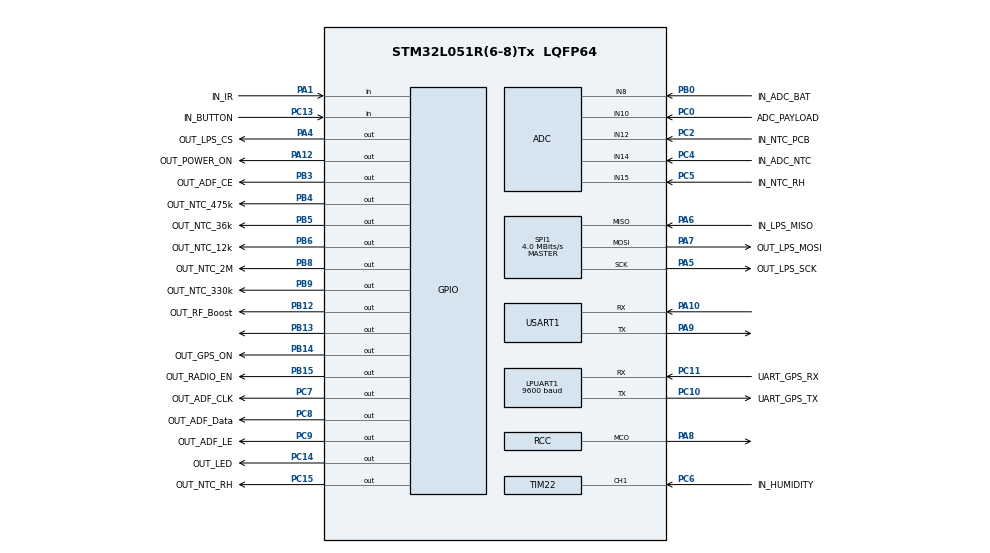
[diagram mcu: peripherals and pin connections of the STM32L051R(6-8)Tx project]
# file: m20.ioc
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ADC.SamplingTime=ADC_SAMPLETIME_160CYCLES_5
LPUART1.BaudRate=9600
LPUART1.WordLength=UART_WORDLENGTH_8B
Mcu.Family=STM32L0
Mcu.Name=STM32L051R(6-8)Tx
Mcu.Package=LQFP64
NVIC.LPUART1_IRQn=true\:1\:0\:true\:false\:true\:true\:true\:true
NVIC.TIM21_IRQn=true\:0\:0\:true\:false\:true\:true\:true\:true
NVIC.TIM22_IRQn=true\:1\:0\:true\:false\:true\:true\:true\:true
PA1.GPIO_Label=IN_IR
PA1.Signal=GPIO_Input
PA10.Mode=Asynchronous
PA10.Signal=USART1_RX
PA12.GPIO_Label=OUT_POWER_ON
PA12.PinState=GPIO_PIN_SET
PA12.Signal=GPIO_Output
PA4.GPIO_Label=OUT_LPS_CS
PA4.Signal=GPIO_Output
PA5.GPIO_Label=OUT_LPS_SCK
PA5.Mode=Full_Duplex_Master
PA5.Signal=SPI1_SCK
PA6.GPIO_Label=IN_LPS_MISO
PA6.Mode=Full_Duplex_Master
PA6.Signal=SPI1_MISO
PA7.GPIO_Label=OUT_LPS_MOSI
PA7.Mode=Full_Duplex_Master
PA7.Signal=SPI1_MOSI
PA8.GPIO_Speed=GPIO_SPEED_FREQ_VERY_HIGH
PA8.Mode=Clock-out
PA8.Signal=RCC_MCO
PA9.Mode=Asynchronous
PA9.Signal=USART1_TX
PB0.GPIO_Label=IN_ADC_BAT
PB0.Mode=IN8
PB0.Signal=ADC_IN8
PB12.GPIO_Label=OUT_RF_Boost
PB12.PinState=GPIO_PIN_SET
PB12.Signal=GPIO_Output
PB13.GPIO_Label=OUT_ADF_TX_TIM?
PB13.Signal=GPIO_Output
PB14.GPIO_Label=OUT_GPS_ON
PB14.PinState=GPIO_PIN_SET
PB14.Signal=GPIO_Output
PB15.GPIO_Label=OUT_RADIO_EN
PB15.PinState=GPIO_PIN_SET
PB15.Signal=GPIO_Output
PB3.GPIO_Label=OUT_ADF_CE
PB3.PinState=GPIO_PIN_RESET
PB3.Signal=GPIO_Output
PB4.GPIO_Label=OUT_NTC_475k
PB4.GPIO_ModeDefaultOutputPP=GPIO_MODE_OUTPUT_PP
PB4.GPIO_PuPd=GPIO_NOPULL
PB4.PinState=GPIO_PIN_SET
PB4.Signal=GPIO_Output
PB5.GPIO_Label=OUT_NTC_36k
PB5.GPIO_ModeDefaultOutputPP=GPIO_MODE_OUTPUT_PP
PB5.GPIO_PuPd=GPIO_NOPULL
PB5.PinState=GPIO_PIN_SET
PB5.Signal=GPIO_Output
PB6.GPIO_FM6=__NULL
PB6.GPIO_Label=OUT_NTC_12k
PB6.GPIO_ModeDefaultOutputPP=GPIO_MODE_OUTPUT_PP
PB6.GPIO_PuPd=GPIO_NOPULL
PB6.PinState=GPIO_PIN_SET
PB6.Signal=GPIO_Output
PB8.GPIO_Label=OUT_NTC_2M
PB8.GPIO_ModeDefaultOutputPP=GPIO_MODE_OUTPUT_PP
PB8.GPIO_PuPd=GPIO_NOPULL
PB8.PinState=GPIO_PIN_RESET
PB8.Signal=GPIO_Output
PB9.GPIO_Label=OUT_NTC_330k
PB9.GPIO_ModeDefaultOutputPP=GPIO_MODE_OUTPUT_PP
PB9.GPIO_PuPd=GPIO_NOPULL
PB9.PinState=GPIO_PIN_RESET
PB9.Signal=GPIO_Output
PC0.GPIO_Label=ADC_PAYLOAD
PC0.Mode=IN10
PC0.Signal=ADC_IN10
PC10.GPIO_Label=UART_GPS_TX
PC10.Mode=Asynchronous
PC10.Signal=LPUART1_TX
PC11.GPIO_Label=UART_GPS_RX
PC11.Mode=Asynchronous
PC11.Signal=LPUART1_RX
PC13.GPIO_Label=IN_BUTTON
PC13.Signal=GPIO_Input
PC14-OSC32_IN.GPIO_Label=OUT_LED
PC14-OSC32_IN.PinState=GPIO_PIN_RESET
PC14-OSC32_IN.Signal=GPIO_Output
PC15-OSC32_OUT.GPIO_Label=OUT_NTC_RH
PC15-OSC32_OUT.PinState=GPIO_PIN_RESET
PC15-OSC32_OUT.Signal=GPIO_Output
PC2.GPIO_Label=IN_NTC_PCB
PC2.Mode=IN12
PC2.Signal=ADC_IN12
PC4.GPIO_Label=IN_ADC_NTC
PC4.Mode=IN14
PC4.Signal=ADC_IN14
PC5.GPIO_Label=IN_NTC_RH
PC5.Mode=IN15
PC5.Signal=ADC_IN15
PC6.GPIO_Label=IN_HUMIDITY
PC6.Signal=S_TIM22_CH1
PC7.GPIO_Label=OUT_ADF_CLK
PC7.Signal=GPIO_Output
PC8.GPIO_Label=OUT_ADF_Data
PC8.Signal=GPIO_Output
PC9.GPIO_Label=OUT_ADF_LE
PC9.Signal=GPIO_Output
PH0-OSC_IN.Mode=HSE-External-Oscillator
PH0-OSC_IN.Signal=RCC_OSC_IN
PH1-OSC_OUT.Mode=HSE-External-Oscillator
PH1-OSC_OUT.Signal=RCC_OSC_OUT
ProjectManager.HeapSize=0x200
ProjectManager.StackSize=0x400
ProjectManager.TargetToolchain=Makefile
RCC.AHBFreq_Value=8000000
RCC.APB1Freq_Value=8000000
RCC.APB1TimFreq_Value=8000000
RCC.APB2Freq_Value=8000000
RCC.APB2TimFreq_Value=8000000
RCC.HCLKFreq_Value=8000000
RCC.HSE_VALUE=8000000
RCC.HSI16_VALUE=16000000
RCC.HSI_VALUE=16000000
RCC.LSE_VALUE=32768
RCC.MSI_VALUE=2097000
RCC.PLLSourceVirtual=RCC_PLLSOURCE_HSE
RCC.RCC_MCOSource=RCC_MCO1SOURCE_HSE
RCC.SYSCLKFreq_VALUE=8000000
RCC.SYSCLKSource=RCC_SYSCLKSOURCE_HSE
RCC.Usart1ClockSelection=RCC_USART1CLKSOURCE_SYSCLK
RCC.VCOOutputFreq_Value=24000000
SH.S_TIM22_CH1.0=TIM22_CH1,Input_Capture1_from_TI1
SPI1.CalculateBaudRate=4.0 MBits/s
SPI1.Direction=SPI_DIRECTION_2LINES
SPI1.Mode=SPI_MODE_MASTER
SPI1.VirtualType=VM_MASTER
TIM21.AutoReloadPreload=TIM_AUTORELOAD_PRELOAD_ENABLE
TIM21.Period=3332
TIM21.Prescaler=0
TIM22.Channel-Input_Capture1_from_TI1=TIM_CHANNEL_1
TIM22.Prescaler=1
USART1.VirtualMode-Asynchronous=VM_ASYNC
VP_TIM21_VS_ClockSourceINT.Mode=Internal
VP_TIM22_VS_ClockSourceINT.Mode=Internal
board=custom

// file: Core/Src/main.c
/* USER CODE BEGIN Header */
/**
  ******************************************************************************
  * @file           : main.c
  * @brief          : Main program body
  ******************************************************************************
  * @attention
  *
  * Copyright (c) 2026 STMicroelectronics.
  * All rights reserved.
  *
  * This software is licensed under terms that can be found in the LICENSE file
  * in the root directory of this software component.
  * If no LICENSE file comes with this software, it is provided AS-IS.
  *
  ******************************************************************************
  */
/* USER CODE END Header */
#include "main.h"

/* USER CODE BEGIN Includes */
#include <sys/types.h>

#include "adf.h"
#include "gps.h"
#include "lps22.h"
#include "ntc.h"
#include "printf.h"
#include "rh.h"
/* USER CODE END Includes */

/* USER CODE BEGIN PV */
typedef struct m20_frame {
  uint32_t sync; // 0xb00b5420
  uint8_t seq;

  uint32_t time; // Unix timestamp

  uint32_t lat;
  uint32_t lon;
  uint16_t alt; // 0.1m

  uint16_t vel_h; // Horizontal velocity
  uint16_t vel_v; // Vertical velocity
  uint8_t heading; // Heading @2deg

  uint16_t temp;     // @0.01
  uint16_t humidity; // @0.01

  uint16_t crc;
} __attribute__((packed)) m20_frame_t;

uint8_t seq = 0;

extern struct {
  uint32_t time; // Unix timestamp

  uint32_t lat;
  uint32_t lon;
  uint16_t alt;

  uint16_t vel_h;
} frame_part;

#if ENABLE_RF
extern int need_to_send;
extern uint8_t *send_buffer;
extern size_t send_buffer_size;
#endif
/* USER CODE END PV */

void SystemClock_Config(void);
static void MX_GPIO_Init(void);
static void MX_ADC_Init(void);
static void MX_SPI1_Init(void);
static void MX_USART1_UART_Init(void);
static void MX_LPUART1_UART_Init(void);
static void MX_TIM22_Init(void);
static void MX_TIM21_Init(void);

/* USER CODE BEGIN 0 */
uint16_t read_adc(uint32_t channel) {
  LL_ADC_REG_SetSequencerChannels(ADC1, channel);
  LL_ADC_REG_StartConversion(ADC1);
  while (!LL_ADC_IsActiveFlag_EOC(ADC1)) {}
  float adc = LL_ADC_REG_ReadConversionData12(ADC1);
  return adc;
}

#if ENABLE_VBAT
float vbat() {
  return read_adc(LL_ADC_CHANNEL_8) * 3.3f / 4095;
}
#endif

uint16_t crc16(uint8_t *data, size_t len) {
  uint16_t crc = 0x0000;
  for (size_t i = 0; i < len; i++) {
    crc = crc * 0x1337 + data[i];
  }
  return crc;
}
/* USER CODE END 0 */

int main(void)
{

  /* MCU Configuration--------------------------------------------------------*/

  /* Reset of all peripherals, Initializes the Flash interface and the Systick. */
  LL_APB2_GRP1_EnableClock(LL_APB2_GRP1_PERIPH_SYSCFG);
  LL_APB1_GRP1_EnableClock(LL_APB1_GRP1_PERIPH_PWR);

  /* SysTick_IRQn interrupt configuration */
  NVIC_SetPriority(SysTick_IRQn, 3);

  /* Configure the system clock */
  SystemClock_Config();

  /* Initialize all configured peripherals */
  MX_GPIO_Init();
  MX_ADC_Init();
  MX_SPI1_Init();
  MX_USART1_UART_Init();
  MX_LPUART1_UART_Init();
  MX_TIM22_Init();
  MX_TIM21_Init();
  /* USER CODE BEGIN 2 */
#if ENABLE_GPS
  LL_LPUART_Enable(LPUART1);
#endif
#if ENABLE_LPS
  LL_SPI_Enable(SPI1);
#endif
#if ENABLE_HUMIDITY
  LL_TIM_EnableIT_CC1(TIM22);
  LL_TIM_CC_EnableChannel(TIM22, LL_TIM_CHANNEL_CH1);
  LL_TIM_EnableCounter(TIM22);

#endif
  LL_mDelay(500);
#if ENABLE_GPS
  switch_ubx();
#endif
#if ENABLE_LPS
  for (int i = 0; i < 5; i++) {
    n_printf("⌛ LPS try %d ...\n", i);
    if (lps22_init() == 0) break;
    LL_mDelay(100);
  }
#endif
#if ENABLE_RF
  adf_init();
  LL_TIM_EnableIT_UPDATE(TIM21);
  LL_TIM_EnableCounter(TIM21);
#endif

  LL_ADC_EnableInternalRegulator(ADC1);
  LL_mDelay(10);
  LL_ADC_StartCalibration(ADC1);
  while (LL_ADC_IsCalibrationOnGoing(ADC1) != 0) {}
  LL_ADC_Enable(ADC1);
  while (LL_ADC_IsActiveFlag_ADRDY(ADC1) == 0) {}

  n_printf("ℹ️ System initilized\n");

#if ENABLE_GPS
  LL_LPUART_EnableIT_RXNE(LPUART1);
#endif
  /* USER CODE END 2 */

  /* Infinite loop */
  /* USER CODE BEGIN WHILE */
#if ENABLE_RF
  adf_on(433500000.f, 31);
#endif
  while (1) {
#if ENABLE_HUMIDITY
    n_printf("💧 Humidity %.1f%%\n", get_humidity());
#endif
#if ENABLE_LPS
    n_printf("ℹ️ Pressure : %.4fhPa\n", lps_press());
    n_printf("ℹ️ Temperature : %.2fC\n", lps_temp());
#endif
#if ENABLE_VBAT
    n_printf("⚡ Vbat %.2f\n", vbat());
#endif
#if ENABLE_NTC
    n_printf("🌡️ NTC1 %.2fC\n", ntc_rindex(0));
    n_printf("🌡️ NTC2 %.2fC\n", ntc_rindex(1));
    n_printf("🌡️ NTC3 %.2fC\n", ntc_rindex(2));
#endif

    LL_GPIO_SetOutputPin(OUT_NTC_RH_GPIO_Port, OUT_NTC_RH_Pin);
    LL_mDelay(10);
    n_printf("🌡️ NTC PCB %d\n", read_adc(LL_ADC_CHANNEL_12));

    LL_GPIO_ResetOutputPin(OUT_NTC_RH_GPIO_Port, OUT_NTC_RH_Pin);

    struct m20_frame frame = {0};
    frame = (struct m20_frame) {
      .sync = 0xb00b5420,
      .seq = seq++,
#if ENABLE_GPS
      .time = frame_part.time,
      .lat = frame_part.lat,
      .lon = frame_part.lon,
      .alt = frame_part.alt,
      .vel_h = frame_part.vel_h,
      .vel_v = 0,
      .heading = 0,
#endif
#if ENABLE_NTC //TODO: a tester
      .temp = 0,
#endif
#if ENABLE_HUMIDITY
      .humidity = (int16_t)(get_humidity()*100),
#endif
    };
    frame.crc = crc16((uint8_t *)&frame, 28),

#if ENABLE_RF
    send_buffer = (uint8_t*)&frame;
    send_buffer_size = sizeof(frame);

    LL_GPIO_ResetOutputPin(OUT_RF_Boost_GPIO_Port, OUT_RF_Boost_Pin);
    need_to_send = 1;
#endif
    LL_mDelay(1000);
    /* USER CODE END WHILE */

  }
}

void SystemClock_Config(void)
{
  LL_FLASH_SetLatency(LL_FLASH_LATENCY_0);
  while(LL_FLASH_GetLatency()!= LL_FLASH_LATENCY_0)
  {
  }
  LL_PWR_SetRegulVoltageScaling(LL_PWR_REGU_VOLTAGE_SCALE1);
  while (LL_PWR_IsActiveFlag_VOS() != 0)
  {
  }
  LL_RCC_HSE_Enable();

   /* Wait till HSE is ready */
  while(LL_RCC_HSE_IsReady() != 1)
  {

  }
  LL_RCC_SetAHBPrescaler(LL_RCC_SYSCLK_DIV_1);
  LL_RCC_SetAPB1Prescaler(LL_RCC_APB1_DIV_1);
  LL_RCC_SetAPB2Prescaler(LL_RCC_APB2_DIV_1);
  LL_RCC_SetSysClkSource(LL_RCC_SYS_CLKSOURCE_HSE);

   /* Wait till System clock is ready */
  while(LL_RCC_GetSysClkSource() != LL_RCC_SYS_CLKSOURCE_STATUS_HSE)
  {

  }

  LL_Init1msTick(8000000);

  LL_SetSystemCoreClock(8000000);
  LL_RCC_SetUSARTClockSource(LL_RCC_USART1_CLKSOURCE_SYSCLK);
  LL_RCC_SetLPUARTClockSource(LL_RCC_LPUART1_CLKSOURCE_PCLK1);
  LL_RCC_ConfigMCO(LL_RCC_MCO1SOURCE_HSE, LL_RCC_MCO1_DIV_1);
}

static void MX_ADC_Init(void)
{

  LL_ADC_REG_InitTypeDef ADC_REG_InitStruct = {0};
  LL_ADC_InitTypeDef ADC_InitStruct = {0};

  LL_GPIO_InitTypeDef GPIO_InitStruct = {0};

  /* Peripheral clock enable */
  LL_APB2_GRP1_EnableClock(LL_APB2_GRP1_PERIPH_ADC1);

  LL_IOP_GRP1_EnableClock(LL_IOP_GRP1_PERIPH_GPIOC);
  LL_IOP_GRP1_EnableClock(LL_IOP_GRP1_PERIPH_GPIOB);
  /**ADC GPIO Configuration
  PC0   ------> ADC_IN10
  PC2   ------> ADC_IN12
  PC4   ------> ADC_IN14
  PC5   ------> ADC_IN15
  PB0   ------> ADC_IN8
  */
  GPIO_InitStruct.Pin = ADC_PAYLOAD_Pin;
  GPIO_InitStruct.Mode = LL_GPIO_MODE_ANALOG;
  GPIO_InitStruct.Pull = LL_GPIO_PULL_NO;
  LL_GPIO_Init(ADC_PAYLOAD_GPIO_Port, &GPIO_InitStruct);

  GPIO_InitStruct.Pin = IN_NTC_PCB_Pin;
  GPIO_InitStruct.Mode = LL_GPIO_MODE_ANALOG;
  GPIO_InitStruct.Pull = LL_GPIO_PULL_NO;
  LL_GPIO_Init(IN_NTC_PCB_GPIO_Port, &GPIO_InitStruct);

  GPIO_InitStruct.Pin = IN_ADC_NTC_Pin;
  GPIO_InitStruct.Mode = LL_GPIO_MODE_ANALOG;
  GPIO_InitStruct.Pull = LL_GPIO_PULL_NO;
  LL_GPIO_Init(IN_ADC_NTC_GPIO_Port, &GPIO_InitStruct);

  GPIO_InitStruct.Pin = IN_NTC_RH_Pin;
  GPIO_InitStruct.Mode = LL_GPIO_MODE_ANALOG;
  GPIO_InitStruct.Pull = LL_GPIO_PULL_NO;
  LL_GPIO_Init(IN_NTC_RH_GPIO_Port, &GPIO_InitStruct);

  GPIO_InitStruct.Pin = IN_ADC_BAT_Pin;
  GPIO_InitStruct.Mode = LL_GPIO_MODE_ANALOG;
  GPIO_InitStruct.Pull = LL_GPIO_PULL_NO;
  LL_GPIO_Init(IN_ADC_BAT_GPIO_Port, &GPIO_InitStruct);

  /** Configure Regular Channel
  */
  LL_ADC_REG_SetSequencerChAdd(ADC1, LL_ADC_CHANNEL_8);

  /** Configure Regular Channel
  */
  LL_ADC_REG_SetSequencerChAdd(ADC1, LL_ADC_CHANNEL_10);

  /** Configure Regular Channel
  */
  LL_ADC_REG_SetSequencerChAdd(ADC1, LL_ADC_CHANNEL_12);

  /** Configure Regular Channel
  */
  LL_ADC_REG_SetSequencerChAdd(ADC1, LL_ADC_CHANNEL_14);

  /** Configure Regular Channel
  */
  LL_ADC_REG_SetSequencerChAdd(ADC1, LL_ADC_CHANNEL_15);

  /** Common config
  */
  ADC_REG_InitStruct.TriggerSource = LL_ADC_REG_TRIG_SOFTWARE;
  ADC_REG_InitStruct.SequencerDiscont = LL_ADC_REG_SEQ_DISCONT_DISABLE;
  ADC_REG_InitStruct.ContinuousMode = LL_ADC_REG_CONV_SINGLE;
  ADC_REG_InitStruct.DMATransfer = LL_ADC_REG_DMA_TRANSFER_NONE;
  ADC_REG_InitStruct.Overrun = LL_ADC_REG_OVR_DATA_PRESERVED;
  LL_ADC_REG_Init(ADC1, &ADC_REG_InitStruct);
  LL_ADC_SetSamplingTimeCommonChannels(ADC1, LL_ADC_SAMPLINGTIME_160CYCLES_5);
  LL_ADC_SetOverSamplingScope(ADC1, LL_ADC_OVS_DISABLE);
  LL_ADC_REG_SetSequencerScanDirection(ADC1, LL_ADC_REG_SEQ_SCAN_DIR_FORWARD);
  LL_ADC_SetCommonFrequencyMode(__LL_ADC_COMMON_INSTANCE(ADC1), LL_ADC_CLOCK_FREQ_MODE_HIGH);
  LL_ADC_DisableIT_EOC(ADC1);
  LL_ADC_DisableIT_EOS(ADC1);
  ADC_InitStruct.Clock = LL_ADC_CLOCK_SYNC_PCLK_DIV1;
  ADC_InitStruct.Resolution = LL_ADC_RESOLUTION_12B;
  ADC_InitStruct.DataAlignment = LL_ADC_DATA_ALIGN_RIGHT;
  ADC_InitStruct.LowPowerMode = LL_ADC_LP_MODE_NONE;
  LL_ADC_Init(ADC1, &ADC_InitStruct);

  /* Enable ADC internal voltage regulator */
  LL_ADC_EnableInternalRegulator(ADC1);
  /* Delay for ADC internal voltage regulator stabilization. */
  /* Compute number of CPU cycles to wait for, from delay in us. */
  /* Note: Variable divided by 2 to compensate partially */
  /* CPU processing cycles (depends on compilation optimization). */
  /* Note: If system core clock frequency is below 200kHz, wait time */
  /* is only a few CPU processing cycles. */
  uint32_t wait_loop_index;
  wait_loop_index = ((LL_ADC_DELAY_INTERNAL_REGUL_STAB_US * (SystemCoreClock / (100000 * 2))) / 10);
  while(wait_loop_index != 0)
  {
    wait_loop_index--;
  }

}

static void MX_LPUART1_UART_Init(void)
{

  LL_LPUART_InitTypeDef LPUART_InitStruct = {0};

  LL_GPIO_InitTypeDef GPIO_InitStruct = {0};

  /* Peripheral clock enable */
  LL_APB1_GRP1_EnableClock(LL_APB1_GRP1_PERIPH_LPUART1);

  LL_IOP_GRP1_EnableClock(LL_IOP_GRP1_PERIPH_GPIOC);
  /**LPUART1 GPIO Configuration
  PC10   ------> LPUART1_TX
  PC11   ------> LPUART1_RX
  */
  GPIO_InitStruct.Pin = UART_GPS_TX_Pin;
  GPIO_InitStruct.Mode = LL_GPIO_MODE_ALTERNATE;
  GPIO_InitStruct.Speed = LL_GPIO_SPEED_FREQ_VERY_HIGH;
  GPIO_InitStruct.OutputType = LL_GPIO_OUTPUT_PUSHPULL;
  GPIO_InitStruct.Pull = LL_GPIO_PULL_NO;
  GPIO_InitStruct.Alternate = LL_GPIO_AF_0;
  LL_GPIO_Init(UART_GPS_TX_GPIO_Port, &GPIO_InitStruct);

  GPIO_InitStruct.Pin = UART_GPS_RX_Pin;
  GPIO_InitStruct.Mode = LL_GPIO_MODE_ALTERNATE;
  GPIO_InitStruct.Speed = LL_GPIO_SPEED_FREQ_VERY_HIGH;
  GPIO_InitStruct.OutputType = LL_GPIO_OUTPUT_PUSHPULL;
  GPIO_InitStruct.Pull = LL_GPIO_PULL_NO;
  GPIO_InitStruct.Alternate = LL_GPIO_AF_0;
  LL_GPIO_Init(UART_GPS_RX_GPIO_Port, &GPIO_InitStruct);

  /* LPUART1 interrupt Init */
  NVIC_SetPriority(LPUART1_IRQn, 1);
  NVIC_EnableIRQ(LPUART1_IRQn);

  LPUART_InitStruct.BaudRate = 9600;
  LPUART_InitStruct.DataWidth = LL_LPUART_DATAWIDTH_8B;
  LPUART_InitStruct.StopBits = LL_LPUART_STOPBITS_1;
  LPUART_InitStruct.Parity = LL_LPUART_PARITY_NONE;
  LPUART_InitStruct.TransferDirection = LL_LPUART_DIRECTION_TX_RX;
  LPUART_InitStruct.HardwareFlowControl = LL_LPUART_HWCONTROL_NONE;
  LL_LPUART_Init(LPUART1, &LPUART_InitStruct);

}

static void MX_USART1_UART_Init(void)
{

  LL_USART_InitTypeDef USART_InitStruct = {0};

  LL_GPIO_InitTypeDef GPIO_InitStruct = {0};

  /* Peripheral clock enable */
  LL_APB2_GRP1_EnableClock(LL_APB2_GRP1_PERIPH_USART1);

  LL_IOP_GRP1_EnableClock(LL_IOP_GRP1_PERIPH_GPIOA);
  /**USART1 GPIO Configuration
  PA9   ------> USART1_TX
  PA10   ------> USART1_RX
  */
  GPIO_InitStruct.Pin = LL_GPIO_PIN_9;
  GPIO_InitStruct.Mode = LL_GPIO_MODE_ALTERNATE;
  GPIO_InitStruct.Speed = LL_GPIO_SPEED_FREQ_VERY_HIGH;
  GPIO_InitStruct.OutputType = LL_GPIO_OUTPUT_PUSHPULL;
  GPIO_InitStruct.Pull = LL_GPIO_PULL_NO;
  GPIO_InitStruct.Alternate = LL_GPIO_AF_4;
  LL_GPIO_Init(GPIOA, &GPIO_InitStruct);

  GPIO_InitStruct.Pin = LL_GPIO_PIN_10;
  GPIO_InitStruct.Mode = LL_GPIO_MODE_ALTERNATE;
  GPIO_InitStruct.Speed = LL_GPIO_SPEED_FREQ_VERY_HIGH;
  GPIO_InitStruct.OutputType = LL_GPIO_OUTPUT_PUSHPULL;
  GPIO_InitStruct.Pull = LL_GPIO_PULL_NO;
  GPIO_InitStruct.Alternate = LL_GPIO_AF_4;
  LL_GPIO_Init(GPIOA, &GPIO_InitStruct);

  USART_InitStruct.BaudRate = 115200;
  USART_InitStruct.DataWidth = LL_USART_DATAWIDTH_8B;
  USART_InitStruct.StopBits = LL_USART_STOPBITS_1;
  USART_InitStruct.Parity = LL_USART_PARITY_NONE;
  USART_InitStruct.TransferDirection = LL_USART_DIRECTION_TX_RX;
  USART_InitStruct.HardwareFlowControl = LL_USART_HWCONTROL_NONE;
  USART_InitStruct.OverSampling = LL_USART_OVERSAMPLING_16;
  LL_USART_Init(USART1, &USART_InitStruct);
  LL_USART_ConfigAsyncMode(USART1);
  LL_USART_Enable(USART1);

}

static void MX_SPI1_Init(void)
{

  LL_SPI_InitTypeDef SPI_InitStruct = {0};

  LL_GPIO_InitTypeDef GPIO_InitStruct = {0};

  /* Peripheral clock enable */
  LL_APB2_GRP1_EnableClock(LL_APB2_GRP1_PERIPH_SPI1);

  LL_IOP_GRP1_EnableClock(LL_IOP_GRP1_PERIPH_GPIOA);
  /**SPI1 GPIO Configuration
  PA5   ------> SPI1_SCK
  PA6   ------> SPI1_MISO
  PA7   ------> SPI1_MOSI
  */
  GPIO_InitStruct.Pin = OUT_LPS_SCK_Pin;
  GPIO_InitStruct.Mode = LL_GPIO_MODE_ALTERNATE;
  GPIO_InitStruct.Speed = LL_GPIO_SPEED_FREQ_VERY_HIGH;
  GPIO_InitStruct.OutputType = LL_GPIO_OUTPUT_PUSHPULL;
  GPIO_InitStruct.Pull = LL_GPIO_PULL_NO;
  GPIO_InitStruct.Alternate = LL_GPIO_AF_0;
  LL_GPIO_Init(OUT_LPS_SCK_GPIO_Port, &GPIO_InitStruct);

  GPIO_InitStruct.Pin = IN_LPS_MISO_Pin;
  GPIO_InitStruct.Mode = LL_GPIO_MODE_ALTERNATE;
  GPIO_InitStruct.Speed = LL_GPIO_SPEED_FREQ_VERY_HIGH;
  GPIO_InitStruct.OutputType = LL_GPIO_OUTPUT_PUSHPULL;
  GPIO_InitStruct.Pull = LL_GPIO_PULL_NO;
  GPIO_InitStruct.Alternate = LL_GPIO_AF_0;
  LL_GPIO_Init(IN_LPS_MISO_GPIO_Port, &GPIO_InitStruct);

  GPIO_InitStruct.Pin = OUT_LPS_MOSI_Pin;
  GPIO_InitStruct.Mode = LL_GPIO_MODE_ALTERNATE;
  GPIO_InitStruct.Speed = LL_GPIO_SPEED_FREQ_VERY_HIGH;
  GPIO_InitStruct.OutputType = LL_GPIO_OUTPUT_PUSHPULL;
  GPIO_InitStruct.Pull = LL_GPIO_PULL_NO;
  GPIO_InitStruct.Alternate = LL_GPIO_AF_0;
  LL_GPIO_Init(OUT_LPS_MOSI_GPIO_Port, &GPIO_InitStruct);

  /* SPI1 parameter configuration*/
  SPI_InitStruct.TransferDirection = LL_SPI_FULL_DUPLEX;
  SPI_InitStruct.Mode = LL_SPI_MODE_MASTER;
  SPI_InitStruct.DataWidth = LL_SPI_DATAWIDTH_8BIT;
  SPI_InitStruct.ClockPolarity = LL_SPI_POLARITY_LOW;
  SPI_InitStruct.ClockPhase = LL_SPI_PHASE_1EDGE;
  SPI_InitStruct.NSS = LL_SPI_NSS_SOFT;
  SPI_InitStruct.BaudRate = LL_SPI_BAUDRATEPRESCALER_DIV2;
  SPI_InitStruct.BitOrder = LL_SPI_MSB_FIRST;
  SPI_InitStruct.CRCCalculation = LL_SPI_CRCCALCULATION_DISABLE;
  SPI_InitStruct.CRCPoly = 7;
  LL_SPI_Init(SPI1, &SPI_InitStruct);
  LL_SPI_SetStandard(SPI1, LL_SPI_PROTOCOL_MOTOROLA);

}

static void MX_TIM21_Init(void)
{

  LL_TIM_InitTypeDef TIM_InitStruct = {0};

  /* Peripheral clock enable */
  LL_APB2_GRP1_EnableClock(LL_APB2_GRP1_PERIPH_TIM21);

  /* TIM21 interrupt Init */
  NVIC_SetPriority(TIM21_IRQn, 0);
  NVIC_EnableIRQ(TIM21_IRQn);

  TIM_InitStruct.Prescaler = 0;
  TIM_InitStruct.CounterMode = LL_TIM_COUNTERMODE_UP;
  TIM_InitStruct.Autoreload = 3332;
  TIM_InitStruct.ClockDivision = LL_TIM_CLOCKDIVISION_DIV1;
  LL_TIM_Init(TIM21, &TIM_InitStruct);
  LL_TIM_EnableARRPreload(TIM21);
  LL_TIM_SetClockSource(TIM21, LL_TIM_CLOCKSOURCE_INTERNAL);
  LL_TIM_SetTriggerOutput(TIM21, LL_TIM_TRGO_RESET);
  LL_TIM_DisableMasterSlaveMode(TIM21);

}

static void MX_TIM22_Init(void)
{

  LL_TIM_InitTypeDef TIM_InitStruct = {0};

  LL_GPIO_InitTypeDef GPIO_InitStruct = {0};

  /* Peripheral clock enable */
  LL_APB2_GRP1_EnableClock(LL_APB2_GRP1_PERIPH_TIM22);

  LL_IOP_GRP1_EnableClock(LL_IOP_GRP1_PERIPH_GPIOC);
  /**TIM22 GPIO Configuration
  PC6   ------> TIM22_CH1
  */
  GPIO_InitStruct.Pin = IN_HUMIDITY_Pin;
  GPIO_InitStruct.Mode = LL_GPIO_MODE_ALTERNATE;
  GPIO_InitStruct.Speed = LL_GPIO_SPEED_FREQ_LOW;
  GPIO_InitStruct.OutputType = LL_GPIO_OUTPUT_PUSHPULL;
  GPIO_InitStruct.Pull = LL_GPIO_PULL_NO;
  GPIO_InitStruct.Alternate = LL_GPIO_AF_0;
  LL_GPIO_Init(IN_HUMIDITY_GPIO_Port, &GPIO_InitStruct);

  /* TIM22 interrupt Init */
  NVIC_SetPriority(TIM22_IRQn, 1);
  NVIC_EnableIRQ(TIM22_IRQn);

  TIM_InitStruct.Prescaler = 1;
  TIM_InitStruct.CounterMode = LL_TIM_COUNTERMODE_UP;
  TIM_InitStruct.Autoreload = 65535;
  TIM_InitStruct.ClockDivision = LL_TIM_CLOCKDIVISION_DIV1;
  LL_TIM_Init(TIM22, &TIM_InitStruct);
  LL_TIM_DisableARRPreload(TIM22);
  LL_TIM_SetClockSource(TIM22, LL_TIM_CLOCKSOURCE_INTERNAL);
  LL_TIM_SetTriggerOutput(TIM22, LL_TIM_TRGO_RESET);
  LL_TIM_DisableMasterSlaveMode(TIM22);
  LL_TIM_IC_SetActiveInput(TIM22, LL_TIM_CHANNEL_CH1, LL_TIM_ACTIVEINPUT_DIRECTTI);
  LL_TIM_IC_SetPrescaler(TIM22, LL_TIM_CHANNEL_CH1, LL_TIM_ICPSC_DIV1);
  LL_TIM_IC_SetFilter(TIM22, LL_TIM_CHANNEL_CH1, LL_TIM_IC_FILTER_FDIV1);
  LL_TIM_IC_SetPolarity(TIM22, LL_TIM_CHANNEL_CH1, LL_TIM_IC_POLARITY_RISING);

}

static void MX_GPIO_Init(void)
{
  LL_GPIO_InitTypeDef GPIO_InitStruct = {0};

  /* GPIO Ports Clock Enable */
  LL_IOP_GRP1_EnableClock(LL_IOP_GRP1_PERIPH_GPIOC);
  LL_IOP_GRP1_EnableClock(LL_IOP_GRP1_PERIPH_GPIOH);
  LL_IOP_GRP1_EnableClock(LL_IOP_GRP1_PERIPH_GPIOA);
  LL_IOP_GRP1_EnableClock(LL_IOP_GRP1_PERIPH_GPIOB);

  /**/
  LL_GPIO_ResetOutputPin(OUT_LED_GPIO_Port, OUT_LED_Pin);

  /**/
  LL_GPIO_ResetOutputPin(OUT_NTC_RH_GPIO_Port, OUT_NTC_RH_Pin);

  /**/
  LL_GPIO_ResetOutputPin(OUT_LPS_CS_GPIO_Port, OUT_LPS_CS_Pin);

  /**/
  LL_GPIO_ResetOutputPin(OUT_ADF_TX_TIM__GPIO_Port, OUT_ADF_TX_TIM__Pin);

  /**/
  LL_GPIO_ResetOutputPin(OUT_ADF_CLK_GPIO_Port, OUT_ADF_CLK_Pin);

  /**/
  LL_GPIO_ResetOutputPin(OUT_ADF_Data_GPIO_Port, OUT_ADF_Data_Pin);

  /**/
  LL_GPIO_ResetOutputPin(OUT_ADF_LE_GPIO_Port, OUT_ADF_LE_Pin);

  /**/
  LL_GPIO_ResetOutputPin(OUT_ADF_CE_GPIO_Port, OUT_ADF_CE_Pin);

  /**/
  LL_GPIO_ResetOutputPin(OUT_NTC_2M_GPIO_Port, OUT_NTC_2M_Pin);

  /**/
  LL_GPIO_ResetOutputPin(OUT_NTC_330k_GPIO_Port, OUT_NTC_330k_Pin);

  /**/
  LL_GPIO_SetOutputPin(OUT_RF_Boost_GPIO_Port, OUT_RF_Boost_Pin);

  /**/
  LL_GPIO_SetOutputPin(OUT_GPS_ON_GPIO_Port, OUT_GPS_ON_Pin);

  /**/
  LL_GPIO_SetOutputPin(OUT_RADIO_EN_GPIO_Port, OUT_RADIO_EN_Pin);

  /**/
  LL_GPIO_SetOutputPin(OUT_POWER_ON_GPIO_Port, OUT_POWER_ON_Pin);

  /**/
  LL_GPIO_SetOutputPin(OUT_NTC_475k_GPIO_Port, OUT_NTC_475k_Pin);

  /**/
  LL_GPIO_SetOutputPin(OUT_NTC_36k_GPIO_Port, OUT_NTC_36k_Pin);

  /**/
  LL_GPIO_SetOutputPin(OUT_NTC_12k_GPIO_Port, OUT_NTC_12k_Pin);

  /**/
  GPIO_InitStruct.Pin = IN_BUTTON_Pin;
  GPIO_InitStruct.Mode = LL_GPIO_MODE_INPUT;
  GPIO_InitStruct.Pull = LL_GPIO_PULL_NO;
  LL_GPIO_Init(IN_BUTTON_GPIO_Port, &GPIO_InitStruct);

  /**/
  GPIO_InitStruct.Pin = OUT_LED_Pin;
  GPIO_InitStruct.Mode = LL_GPIO_MODE_OUTPUT;
  GPIO_InitStruct.Speed = LL_GPIO_SPEED_FREQ_LOW;
  GPIO_InitStruct.OutputType = LL_GPIO_OUTPUT_PUSHPULL;
  GPIO_InitStruct.Pull = LL_GPIO_PULL_NO;
  LL_GPIO_Init(OUT_LED_GPIO_Port, &GPIO_InitStruct);

  /**/
  GPIO_InitStruct.Pin = OUT_NTC_RH_Pin;
  GPIO_InitStruct.Mode = LL_GPIO_MODE_OUTPUT;
  GPIO_InitStruct.Speed = LL_GPIO_SPEED_FREQ_LOW;
  GPIO_InitStruct.OutputType = LL_GPIO_OUTPUT_PUSHPULL;
  GPIO_InitStruct.Pull = LL_GPIO_PULL_NO;
  LL_GPIO_Init(OUT_NTC_RH_GPIO_Port, &GPIO_InitStruct);

  /**/
  GPIO_InitStruct.Pin = IN_IR_Pin;
  GPIO_InitStruct.Mode = LL_GPIO_MODE_INPUT;
  GPIO_InitStruct.Pull = LL_GPIO_PULL_NO;
  LL_GPIO_Init(IN_IR_GPIO_Port, &GPIO_InitStruct);

  /**/
  GPIO_InitStruct.Pin = OUT_LPS_CS_Pin;
  GPIO_InitStruct.Mode = LL_GPIO_MODE_OUTPUT;
  GPIO_InitStruct.Speed = LL_GPIO_SPEED_FREQ_LOW;
  GPIO_InitStruct.OutputType = LL_GPIO_OUTPUT_PUSHPULL;
  GPIO_InitStruct.Pull = LL_GPIO_PULL_NO;
  LL_GPIO_Init(OUT_LPS_CS_GPIO_Port, &GPIO_InitStruct);

  /**/
  GPIO_InitStruct.Pin = OUT_RF_Boost_Pin;
  GPIO_InitStruct.Mode = LL_GPIO_MODE_OUTPUT;
  GPIO_InitStruct.Speed = LL_GPIO_SPEED_FREQ_LOW;
  GPIO_InitStruct.OutputType = LL_GPIO_OUTPUT_PUSHPULL;
  GPIO_InitStruct.Pull = LL_GPIO_PULL_NO;
  LL_GPIO_Init(OUT_RF_Boost_GPIO_Port, &GPIO_InitStruct);

  /**/
  GPIO_InitStruct.Pin = OUT_ADF_TX_TIM__Pin;
  GPIO_InitStruct.Mode = LL_GPIO_MODE_OUTPUT;
  GPIO_InitStruct.Speed = LL_GPIO_SPEED_FREQ_LOW;
  GPIO_InitStruct.OutputType = LL_GPIO_OUTPUT_PUSHPULL;
  GPIO_InitStruct.Pull = LL_GPIO_PULL_NO;
  LL_GPIO_Init(OUT_ADF_TX_TIM__GPIO_Port, &GPIO_InitStruct);

  /**/
  GPIO_InitStruct.Pin = OUT_GPS_ON_Pin;
  GPIO_InitStruct.Mode = LL_GPIO_MODE_OUTPUT;
  GPIO_InitStruct.Speed = LL_GPIO_SPEED_FREQ_LOW;
  GPIO_InitStruct.OutputType = LL_GPIO_OUTPUT_PUSHPULL;
  GPIO_InitStruct.Pull = LL_GPIO_PULL_NO;
  LL_GPIO_Init(OUT_GPS_ON_GPIO_Port, &GPIO_InitStruct);

  /**/
  GPIO_InitStruct.Pin = OUT_RADIO_EN_Pin;
  GPIO_InitStruct.Mode = LL_GPIO_MODE_OUTPUT;
  GPIO_InitStruct.Speed = LL_GPIO_SPEED_FREQ_LOW;
  GPIO_InitStruct.OutputType = LL_GPIO_OUTPUT_PUSHPULL;
  GPIO_InitStruct.Pull = LL_GPIO_PULL_NO;
  LL_GPIO_Init(OUT_RADIO_EN_GPIO_Port, &GPIO_InitStruct);

  /**/
  GPIO_InitStruct.Pin = OUT_ADF_CLK_Pin;
  GPIO_InitStruct.Mode = LL_GPIO_MODE_OUTPUT;
  GPIO_InitStruct.Speed = LL_GPIO_SPEED_FREQ_LOW;
  GPIO_InitStruct.OutputType = LL_GPIO_OUTPUT_PUSHPULL;
  GPIO_InitStruct.Pull = LL_GPIO_PULL_NO;
  LL_GPIO_Init(OUT_ADF_CLK_GPIO_Port, &GPIO_InitStruct);

  /**/
  GPIO_InitStruct.Pin = OUT_ADF_Data_Pin;
  GPIO_InitStruct.Mode = LL_GPIO_MODE_OUTPUT;
  GPIO_InitStruct.Speed = LL_GPIO_SPEED_FREQ_LOW;
  GPIO_InitStruct.OutputType = LL_GPIO_OUTPUT_PUSHPULL;
  GPIO_InitStruct.Pull = LL_GPIO_PULL_NO;
  LL_GPIO_Init(OUT_ADF_Data_GPIO_Port, &GPIO_InitStruct);

  /**/
  GPIO_InitStruct.Pin = OUT_ADF_LE_Pin;
  GPIO_InitStruct.Mode = LL_GPIO_MODE_OUTPUT;
  GPIO_InitStruct.Speed = LL_GPIO_SPEED_FREQ_LOW;
  GPIO_InitStruct.OutputType = LL_GPIO_OUTPUT_PUSHPULL;
  GPIO_InitStruct.Pull = LL_GPIO_PULL_NO;
  LL_GPIO_Init(OUT_ADF_LE_GPIO_Port, &GPIO_InitStruct);

  /**/
  GPIO_InitStruct.Pin = LL_GPIO_PIN_8;
  GPIO_InitStruct.Mode = LL_GPIO_MODE_ALTERNATE;
  GPIO_InitStruct.Speed = LL_GPIO_SPEED_FREQ_VERY_HIGH;
  GPIO_InitStruct.OutputType = LL_GPIO_OUTPUT_PUSHPULL;
  GPIO_InitStruct.Pull = LL_GPIO_PULL_NO;
  GPIO_InitStruct.Alternate = LL_GPIO_AF_0;
  LL_GPIO_Init(GPIOA, &GPIO_InitStruct);

  /**/
  GPIO_InitStruct.Pin = OUT_POWER_ON_Pin;
  GPIO_InitStruct.Mode = LL_GPIO_MODE_OUTPUT;
  GPIO_InitStruct.Speed = LL_GPIO_SPEED_FREQ_LOW;
  GPIO_InitStruct.OutputType = LL_GPIO_OUTPUT_PUSHPULL;
  GPIO_InitStruct.Pull = LL_GPIO_PULL_NO;
  LL_GPIO_Init(OUT_POWER_ON_GPIO_Port, &GPIO_InitStruct);

  /**/
  GPIO_InitStruct.Pin = OUT_ADF_CE_Pin;
  GPIO_InitStruct.Mode = LL_GPIO_MODE_OUTPUT;
  GPIO_InitStruct.Speed = LL_GPIO_SPEED_FREQ_LOW;
  GPIO_InitStruct.OutputType = LL_GPIO_OUTPUT_PUSHPULL;
  GPIO_InitStruct.Pull = LL_GPIO_PULL_NO;
  LL_GPIO_Init(OUT_ADF_CE_GPIO_Port, &GPIO_InitStruct);

  /**/
  GPIO_InitStruct.Pin = OUT_NTC_475k_Pin;
  GPIO_InitStruct.Mode = LL_GPIO_MODE_OUTPUT;
  GPIO_InitStruct.Speed = LL_GPIO_SPEED_FREQ_LOW;
  GPIO_InitStruct.OutputType = LL_GPIO_OUTPUT_PUSHPULL;
  GPIO_InitStruct.Pull = LL_GPIO_PULL_NO;
  LL_GPIO_Init(OUT_NTC_475k_GPIO_Port, &GPIO_InitStruct);

  /**/
  GPIO_InitStruct.Pin = OUT_NTC_36k_Pin;
  GPIO_InitStruct.Mode = LL_GPIO_MODE_OUTPUT;
  GPIO_InitStruct.Speed = LL_GPIO_SPEED_FREQ_LOW;
  GPIO_InitStruct.OutputType = LL_GPIO_OUTPUT_PUSHPULL;
  GPIO_InitStruct.Pull = LL_GPIO_PULL_NO;
  LL_GPIO_Init(OUT_NTC_36k_GPIO_Port, &GPIO_InitStruct);

  /**/
  GPIO_InitStruct.Pin = OUT_NTC_12k_Pin;
  GPIO_InitStruct.Mode = LL_GPIO_MODE_OUTPUT;
  GPIO_InitStruct.Speed = LL_GPIO_SPEED_FREQ_LOW;
  GPIO_InitStruct.OutputType = LL_GPIO_OUTPUT_PUSHPULL;
  GPIO_InitStruct.Pull = LL_GPIO_PULL_NO;
  LL_GPIO_Init(OUT_NTC_12k_GPIO_Port, &GPIO_InitStruct);

  /**/
  GPIO_InitStruct.Pin = OUT_NTC_2M_Pin;
  GPIO_InitStruct.Mode = LL_GPIO_MODE_OUTPUT;
  GPIO_InitStruct.Speed = LL_GPIO_SPEED_FREQ_LOW;
  GPIO_InitStruct.OutputType = LL_GPIO_OUTPUT_PUSHPULL;
  GPIO_InitStruct.Pull = LL_GPIO_PULL_NO;
  LL_GPIO_Init(OUT_NTC_2M_GPIO_Port, &GPIO_InitStruct);

  /**/
  GPIO_InitStruct.Pin = OUT_NTC_330k_Pin;
  GPIO_InitStruct.Mode = LL_GPIO_MODE_OUTPUT;
  GPIO_InitStruct.Speed = LL_GPIO_SPEED_FREQ_LOW;
  GPIO_InitStruct.OutputType = LL_GPIO_OUTPUT_PUSHPULL;
  GPIO_InitStruct.Pull = LL_GPIO_PULL_NO;
  LL_GPIO_Init(OUT_NTC_330k_GPIO_Port, &GPIO_InitStruct);

}

void Error_Handler(void)
{
  __disable_irq();
  while (1)
  {
  }
}
